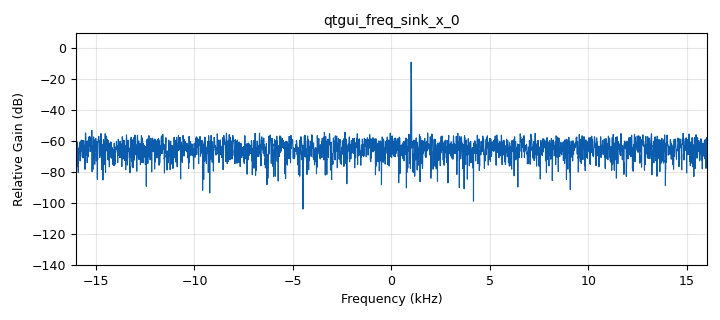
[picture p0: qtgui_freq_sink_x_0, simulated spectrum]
<?xml version='1.0' encoding='utf-8'?>
<?grc format='1' created='3.7.13'?>
<flow_graph>
<block>
<key>options</key>
<param><key>id</key><value>top_block</value></param>
<param><key>generate_options</key><value>qt_gui</value></param>
</block>
<block>
<key>variable_qtgui_range</key>
<param><key>id</key><value>freq</value></param>
<param><key>value</key><value>1000</value></param>
<param><key>label</key><value>freq</value></param>
<param><key>orient</key><value>Qt.Horizontal</value></param>
<param><key>start</key><value>0</value></param>
<param><key>step</key><value>1</value></param>
<param><key>stop</key><value>samp_rate/2</value></param>
</block>
<block>
<key>variable</key>
<param><key>id</key><value>samp_rate</value></param>
<param><key>value</key><value>32000</value></param>
</block>
<block>
<key>variable_qtgui_range</key>
<param><key>id</key><value>std_dev</value></param>
<param><key>value</key><value>0</value></param>
<param><key>label</key><value>std dev</value></param>
<param><key>orient</key><value>Qt.Horizontal</value></param>
<param><key>start</key><value>0</value></param>
<param><key>step</key><value>.01</value></param>
<param><key>stop</key><value>10</value></param>
</block>
<block>
<key>analog_fastnoise_source_x</key>
<param><key>id</key><value>analog_fastnoise_source_x_0</value></param>
<param><key>amp</key><value>.1</value></param>
<param><key>noise_type</key><value>analog.GR_GAUSSIAN</value></param>
<param><key>type</key><value>complex</value></param>
<param><key>seed</key><value>0</value></param>
<param><key>samples</key><value>8192</value></param>
</block>
<block>
<key>analog_sig_source_x</key>
<param><key>id</key><value>analog_sig_source_x_0</value></param>
<param><key>amp</key><value>1</value></param>
<param><key>freq</key><value>freq</value></param>
<param><key>offset</key><value>0</value></param>
<param><key>type</key><value>complex</value></param>
<param><key>samp_rate</key><value>samp_rate</value></param>
<param><key>waveform</key><value>analog.GR_COS_WAVE</value></param>
</block>
<block>
<key>blocks_add_xx</key>
<param><key>id</key><value>blocks_add_xx_0</value></param>
<param><key>type</key><value>complex</value></param>
</block>
<block>
<key>blocks_throttle</key>
<param><key>id</key><value>blocks_throttle_0</value></param>
<param><key>samples_per_second</key><value>samp_rate</value></param>
<param><key>type</key><value>complex</value></param>
</block>
<block>
<key>channels_sro_model</key>
<param><key>id</key><value>channels_sro_model_0</value></param>
<param><key>maxdev</key><value>5e3</value></param>
<param><key>stdev</key><value>std_dev</value></param>
<param><key>srate</key><value>samp_rate</value></param>
<param><key>seed</key><value>0</value></param>
</block>
<block>
<key>qtgui_freq_sink_x</key>
<param><key>id</key><value>qtgui_freq_sink_x_0</value></param>
<param><key>bw</key><value>samp_rate</value></param>
<param><key>fc</key><value>0</value></param>
<param><key>fftsize</key><value>4096</value></param>
<param><key>showports</key><value>True</value></param>
<param><key>freqhalf</key><value>False</value></param>
<param><key>type</key><value>complex</value></param>
<param><key>wintype</key><value>firdes.WIN_BLACKMAN_hARRIS</value></param>
</block>
<connection><source_block_id>analog_fastnoise_source_x_0</source_block_id><sink_block_id>blocks_add_xx_0</sink_block_id><source_key>0</source_key><sink_key>1</sink_key></connection>
<connection><source_block_id>analog_sig_source_x_0</source_block_id><sink_block_id>blocks_throttle_0</sink_block_id><source_key>0</source_key><sink_key>0</sink_key></connection>
<connection><source_block_id>blocks_add_xx_0</source_block_id><sink_block_id>channels_sro_model_0</sink_block_id><source_key>0</source_key><sink_key>0</sink_key></connection>
<connection><source_block_id>blocks_throttle_0</source_block_id><sink_block_id>blocks_add_xx_0</sink_block_id><source_key>0</source_key><sink_key>0</sink_key></connection>
<connection><source_block_id>channels_sro_model_0</source_block_id><sink_block_id>qtgui_freq_sink_x_0</sink_block_id><source_key>0</source_key><sink_key>0</sink_key></connection>
</flow_graph>
